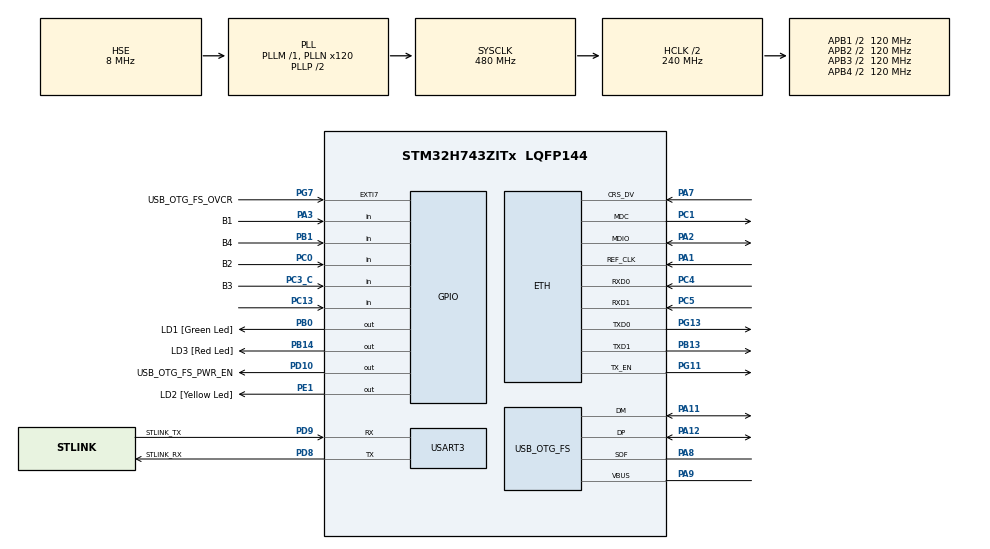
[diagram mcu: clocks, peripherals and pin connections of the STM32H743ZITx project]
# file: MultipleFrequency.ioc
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ETH.MediaInterface=HAL_ETH_RMII_MODE
Mcu.Family=STM32H7
Mcu.Name=STM32H743ZITx
Mcu.Package=LQFP144
NVIC.PriorityGroup=NVIC_PRIORITYGROUP_4
PA1.Mode=RMII
PA1.Signal=ETH_REF_CLK
PA11.Mode=Device_Only
PA11.Signal=USB_OTG_FS_DM
PA12.Mode=Device_Only
PA12.Signal=USB_OTG_FS_DP
PA2.Mode=RMII
PA2.Signal=ETH_MDIO
PA3.GPIO_Label=B1
PA3.GPIO_PuPd=GPIO_PULLUP
PA3.Signal=GPIO_Input
PA7.Mode=RMII
PA7.Signal=ETH_CRS_DV
PA8.Mode=Activate_SOF_FS
PA8.Signal=USB_OTG_FS_SOF
PA9.Mode=Activate_VBUS
PA9.Signal=USB_OTG_FS_VBUS
PB0.GPIO_Label=LD1 [Green Led]
PB0.Signal=GPIO_Output
PB1.GPIO_Label=B4
PB1.GPIO_PuPd=GPIO_PULLUP
PB1.Signal=GPIO_Input
PB13.Mode=RMII
PB13.Signal=ETH_TXD1
PB14.GPIO_Label=LD3 [Red Led]
PB14.Signal=GPIO_Output
PC0.GPIO_Label=B2
PC0.GPIO_PuPd=GPIO_PULLUP
PC0.Signal=GPIO_Input
PC1.Mode=RMII
PC1.Signal=ETH_MDC
PC13.Signal=GPIO_Input
PC14-OSC32_IN\ (OSC32_IN).Mode=LSE-External-Oscillator
PC14-OSC32_IN\ (OSC32_IN).Signal=RCC_OSC32_IN
PC15-OSC32_OUT\ (OSC32_OUT).Mode=LSE-External-Oscillator
PC15-OSC32_OUT\ (OSC32_OUT).Signal=RCC_OSC32_OUT
PC3_C.GPIO_Label=B3
PC3_C.GPIO_PuPd=GPIO_PULLUP
PC3_C.Signal=GPIO_Input
PC4.Mode=RMII
PC4.Signal=ETH_RXD0
PC5.Mode=RMII
PC5.Signal=ETH_RXD1
PD10.GPIO_Label=USB_OTG_FS_PWR_EN
PD10.Signal=GPIO_Output
PD8.GPIO_Label=STLINK_RX
PD8.Mode=Asynchronous
PD8.Signal=USART3_TX
PD9.GPIO_Label=STLINK_TX
PD9.Mode=Asynchronous
PD9.Signal=USART3_RX
PE1.GPIO_Label=LD2 [Yellow Led]
PE1.Signal=GPIO_Output
PG11.Mode=RMII
PG11.Signal=ETH_TX_EN
PG13.Mode=RMII
PG13.Signal=ETH_TXD0
PG7.GPIO_Label=USB_OTG_FS_OVCR
PG7.Signal=GPXTI7
PH0-OSC_IN\ (PH0).Mode=HSE-External-Clock-Source
PH0-OSC_IN\ (PH0).Signal=RCC_OSC_IN
PH1-OSC_OUT\ (PH1).Signal=RCC_OSC_OUT
ProjectManager.HeapSize=0x200
ProjectManager.StackSize=0x400
ProjectManager.TargetToolchain=STM32CubeIDE
RCC.ADCFreq_Value=16125000
RCC.APB1Freq_Value=120000000
RCC.APB2Freq_Value=120000000
RCC.APB3Freq_Value=120000000
RCC.APB4Freq_Value=120000000
RCC.CortexFreq_Value=480000000
RCC.D1PPRE=RCC_APB3_DIV2
RCC.D2PPRE1=RCC_APB1_DIV2
RCC.D2PPRE2=RCC_APB2_DIV2
RCC.D3PPRE=RCC_APB4_DIV2
RCC.DIVM1=1
RCC.DIVN1=120
RCC.DIVQ1=20
RCC.HCLKFreq_Value=240000000
RCC.HPRE=RCC_HCLK_DIV2
RCC.HSE_VALUE=8000000
RCC.PLL2FRACN=0
RCC.PLL3FRACN=0
RCC.PLLFRACN=0
RCC.SYSCLKFreq_VALUE=480000000
RCC.SYSCLKSource=RCC_SYSCLKSOURCE_PLLCLK
RCC.USBFreq_Value=48000000
USART3.VirtualMode-Asynchronous=VM_ASYNC
USB_OTG_FS.VirtualMode=Device_Only
board=NUCLEO-H743ZI2

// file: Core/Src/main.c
/* USER CODE BEGIN Header */
/**
  ******************************************************************************
  * @file           : main.c
  * @brief          : Main program body
  ******************************************************************************
  * @attention
  *
  * <h2><center>&copy; Copyright (c) 2020 STMicroelectronics.
  * All rights reserved.</center></h2>
  *
  * This software component is licensed by ST under BSD 3-Clause license,
  * the "License"; You may not use this file except in compliance with the
  * License. You may obtain a copy of the License at:
  *                        opensource.org/licenses/BSD-3-Clause
  *
  ******************************************************************************
  */
/* USER CODE END Header */

#include "main.h"
#include "string.h"

#if defined ( __ICCARM__ ) /*!< IAR Compiler */

#pragma location=0x30040000
ETH_DMADescTypeDef  DMARxDscrTab[ETH_RX_DESC_CNT]; /* Ethernet Rx DMA Descriptors */
#pragma location=0x30040060
ETH_DMADescTypeDef  DMATxDscrTab[ETH_TX_DESC_CNT]; /* Ethernet Tx DMA Descriptors */
#pragma location=0x30040200
uint8_t Rx_Buff[ETH_RX_DESC_CNT][ETH_MAX_PACKET_SIZE]; /* Ethernet Receive Buffers */

#elif defined ( __CC_ARM )  /* MDK ARM Compiler */

__attribute__((at(0x30040000))) ETH_DMADescTypeDef  DMARxDscrTab[ETH_RX_DESC_CNT]; /* Ethernet Rx DMA Descriptors */
__attribute__((at(0x30040060))) ETH_DMADescTypeDef  DMATxDscrTab[ETH_TX_DESC_CNT]; /* Ethernet Tx DMA Descriptors */
__attribute__((at(0x30040200))) uint8_t Rx_Buff[ETH_RX_DESC_CNT][ETH_MAX_PACKET_SIZE]; /* Ethernet Receive Buffer */

#elif defined ( __GNUC__ ) /* GNU Compiler */

ETH_DMADescTypeDef DMARxDscrTab[ETH_RX_DESC_CNT] __attribute__((section(".RxDecripSection"))); /* Ethernet Rx DMA Descriptors */
ETH_DMADescTypeDef DMATxDscrTab[ETH_TX_DESC_CNT] __attribute__((section(".TxDecripSection")));   /* Ethernet Tx DMA Descriptors */
uint8_t Rx_Buff[ETH_RX_DESC_CNT][ETH_MAX_PACKET_SIZE] __attribute__((section(".RxArraySection"))); /* Ethernet Receive Buffers */

#endif

ETH_TxPacketConfig TxConfig;

ETH_HandleTypeDef heth;

UART_HandleTypeDef huart3;

PCD_HandleTypeDef hpcd_USB_OTG_FS;

void SystemClock_Config(void);
static void MX_GPIO_Init(void);
static void MX_ETH_Init(void);
static void MX_USART3_UART_Init(void);
static void MX_USB_OTG_FS_PCD_Init(void);

int main(void)
{

  /* MCU Configuration--------------------------------------------------------*/

  /* Reset of all peripherals, Initializes the Flash interface and the Systick. */
  HAL_Init();

  /* Configure the system clock */
  SystemClock_Config();

  /* Initialize all configured peripherals */
  MX_GPIO_Init();
  MX_ETH_Init();
  MX_USART3_UART_Init();
  MX_USB_OTG_FS_PCD_Init();
  /* USER CODE BEGIN 2 */
  int mode_1=0;
  int mode_2=0;
  int mode_3=0;
  int mode_4=0;
  int mode_5=0;
  float x = 0;
  /* USER CODE END 2 */

  /* Infinite loop */
  while (1)
  {

    /* USER CODE BEGIN 3 */
	  if(HAL_GPIO_ReadPin(B1_GPIO_Port,B1_Pin) == 0){
		  HAL_GPIO_WritePin(GPIOB, LD1_Pin, 1);
		  for(int i=0;i<10000;i++){
			  //1KHz loop
			  uint32_t tickstart = HAL_GetTick();
			  uint32_t wait = 1;
			  /* Add a freq to guarantee minimum wait */
			  if (wait < HAL_MAX_DELAY){
				  wait += (uint32_t)(uwTickFreq);
			  }
			  x = x*x+sin(x)*sin(x)+cos(x)*sin(x);
			  while ((HAL_GetTick() - tickstart) < wait){}
		  }
		  HAL_GPIO_WritePin(GPIOB, LD1_Pin, 0);
	  }else if(HAL_GPIO_ReadPin(B2_GPIO_Port,B2_Pin) == 0){
		  HAL_GPIO_WritePin(GPIOB, LD1_Pin, 1);
		  for(int i=0;i<3333;i++){
			  //333Hz loop
			  uint32_t tickstart = HAL_GetTick();
			  uint32_t wait = 3;
			  /* Add a freq to guarantee minimum wait */
			  if (wait < HAL_MAX_DELAY){
				  wait += (uint32_t)(uwTickFreq);
			  }
			  x = x*x+sin(x)*sin(x)+cos(x)*sin(x);
			  while ((HAL_GetTick() - tickstart) < wait){}
		  }
		  HAL_GPIO_WritePin(GPIOB, LD1_Pin, 0);
	  }else if(HAL_GPIO_ReadPin(B3_GPIO_Port,B3_Pin) == 0){
		  HAL_GPIO_WritePin(GPIOB, LD1_Pin, 1);
		  for(int i=0;i<666;i++){
			  //333Hz loop
			  uint32_t tickstart = HAL_GetTick();
			  uint32_t wait = 15;
			  /* Add a freq to guarantee minimum wait */
			  if (wait < HAL_MAX_DELAY){
				  wait += (uint32_t)(uwTickFreq);
			  }
			  x = x*x+sin(x)*sin(x)+cos(x)*sin(x);
			  while ((HAL_GetTick() - tickstart) < wait){}
		  }
		  HAL_GPIO_WritePin(GPIOB, LD1_Pin, 0);
	  }else if(HAL_GPIO_ReadPin(B4_GPIO_Port,B4_Pin) == 0){
		  x = x*x+sin(x)*sin(x)+cos(x)*sin(x);
	  }
  }
  /* USER CODE END 3 */
}

void SystemClock_Config(void)
{
  RCC_OscInitTypeDef RCC_OscInitStruct = {0};
  RCC_ClkInitTypeDef RCC_ClkInitStruct = {0};
  RCC_PeriphCLKInitTypeDef PeriphClkInitStruct = {0};

  /** Supply configuration update enable
  */
  HAL_PWREx_ConfigSupply(PWR_LDO_SUPPLY);
  /** Configure the main internal regulator output voltage
  */
  __HAL_PWR_VOLTAGESCALING_CONFIG(PWR_REGULATOR_VOLTAGE_SCALE0);

  while(!__HAL_PWR_GET_FLAG(PWR_FLAG_VOSRDY)) {}
  /** Initializes the CPU, AHB and APB busses clocks
  */
  RCC_OscInitStruct.OscillatorType = RCC_OSCILLATORTYPE_HSE;
  RCC_OscInitStruct.HSEState = RCC_HSE_BYPASS;
  RCC_OscInitStruct.PLL.PLLState = RCC_PLL_ON;
  RCC_OscInitStruct.PLL.PLLSource = RCC_PLLSOURCE_HSE;
  RCC_OscInitStruct.PLL.PLLM = 1;
  RCC_OscInitStruct.PLL.PLLN = 120;
  RCC_OscInitStruct.PLL.PLLP = 2;
  RCC_OscInitStruct.PLL.PLLQ = 20;
  RCC_OscInitStruct.PLL.PLLR = 2;
  RCC_OscInitStruct.PLL.PLLRGE = RCC_PLL1VCIRANGE_3;
  RCC_OscInitStruct.PLL.PLLVCOSEL = RCC_PLL1VCOWIDE;
  RCC_OscInitStruct.PLL.PLLFRACN = 0;
  if (HAL_RCC_OscConfig(&RCC_OscInitStruct) != HAL_OK)
  {
    Error_Handler();
  }
  /** Initializes the CPU, AHB and APB busses clocks
  */
  RCC_ClkInitStruct.ClockType = RCC_CLOCKTYPE_HCLK|RCC_CLOCKTYPE_SYSCLK
                              |RCC_CLOCKTYPE_PCLK1|RCC_CLOCKTYPE_PCLK2
                              |RCC_CLOCKTYPE_D3PCLK1|RCC_CLOCKTYPE_D1PCLK1;
  RCC_ClkInitStruct.SYSCLKSource = RCC_SYSCLKSOURCE_PLLCLK;
  RCC_ClkInitStruct.SYSCLKDivider = RCC_SYSCLK_DIV1;
  RCC_ClkInitStruct.AHBCLKDivider = RCC_HCLK_DIV2;
  RCC_ClkInitStruct.APB3CLKDivider = RCC_APB3_DIV2;
  RCC_ClkInitStruct.APB1CLKDivider = RCC_APB1_DIV2;
  RCC_ClkInitStruct.APB2CLKDivider = RCC_APB2_DIV2;
  RCC_ClkInitStruct.APB4CLKDivider = RCC_APB4_DIV2;

  if (HAL_RCC_ClockConfig(&RCC_ClkInitStruct, FLASH_LATENCY_4) != HAL_OK)
  {
    Error_Handler();
  }
  PeriphClkInitStruct.PeriphClockSelection = RCC_PERIPHCLK_USART3|RCC_PERIPHCLK_USB;
  PeriphClkInitStruct.Usart234578ClockSelection = RCC_USART234578CLKSOURCE_D2PCLK1;
  PeriphClkInitStruct.UsbClockSelection = RCC_USBCLKSOURCE_PLL;
  if (HAL_RCCEx_PeriphCLKConfig(&PeriphClkInitStruct) != HAL_OK)
  {
    Error_Handler();
  }
  /** Enable USB Voltage detector
  */
  HAL_PWREx_EnableUSBVoltageDetector();
}

static void MX_ETH_Init(void)
{

  heth.Instance = ETH;
  heth.Init.MACAddr[0] =   0x00;
  heth.Init.MACAddr[1] =   0x80;
  heth.Init.MACAddr[2] =   0xE1;
  heth.Init.MACAddr[3] =   0x00;
  heth.Init.MACAddr[4] =   0x00;
  heth.Init.MACAddr[5] =   0x00;
  heth.Init.MediaInterface = HAL_ETH_RMII_MODE;
  heth.Init.TxDesc = DMATxDscrTab;
  heth.Init.RxDesc = DMARxDscrTab;
  heth.Init.RxBuffLen = 1524;

  if (HAL_ETH_Init(&heth) != HAL_OK)
  {
    Error_Handler();
  }

  memset(&TxConfig, 0 , sizeof(ETH_TxPacketConfig));
  TxConfig.Attributes = ETH_TX_PACKETS_FEATURES_CSUM | ETH_TX_PACKETS_FEATURES_CRCPAD;
  TxConfig.ChecksumCtrl = ETH_CHECKSUM_IPHDR_PAYLOAD_INSERT_PHDR_CALC;
  TxConfig.CRCPadCtrl = ETH_CRC_PAD_INSERT;

}

static void MX_USART3_UART_Init(void)
{

  huart3.Instance = USART3;
  huart3.Init.BaudRate = 115200;
  huart3.Init.WordLength = UART_WORDLENGTH_8B;
  huart3.Init.StopBits = UART_STOPBITS_1;
  huart3.Init.Parity = UART_PARITY_NONE;
  huart3.Init.Mode = UART_MODE_TX_RX;
  huart3.Init.HwFlowCtl = UART_HWCONTROL_NONE;
  huart3.Init.OverSampling = UART_OVERSAMPLING_16;
  huart3.Init.OneBitSampling = UART_ONE_BIT_SAMPLE_DISABLE;
  huart3.Init.ClockPrescaler = UART_PRESCALER_DIV1;
  huart3.AdvancedInit.AdvFeatureInit = UART_ADVFEATURE_NO_INIT;
  if (HAL_UART_Init(&huart3) != HAL_OK)
  {
    Error_Handler();
  }
  if (HAL_UARTEx_SetTxFifoThreshold(&huart3, UART_TXFIFO_THRESHOLD_1_8) != HAL_OK)
  {
    Error_Handler();
  }
  if (HAL_UARTEx_SetRxFifoThreshold(&huart3, UART_RXFIFO_THRESHOLD_1_8) != HAL_OK)
  {
    Error_Handler();
  }
  if (HAL_UARTEx_DisableFifoMode(&huart3) != HAL_OK)
  {
    Error_Handler();
  }

}

static void MX_USB_OTG_FS_PCD_Init(void)
{

  hpcd_USB_OTG_FS.Instance = USB_OTG_FS;
  hpcd_USB_OTG_FS.Init.dev_endpoints = 9;
  hpcd_USB_OTG_FS.Init.speed = PCD_SPEED_FULL;
  hpcd_USB_OTG_FS.Init.dma_enable = DISABLE;
  hpcd_USB_OTG_FS.Init.phy_itface = PCD_PHY_EMBEDDED;
  hpcd_USB_OTG_FS.Init.Sof_enable = ENABLE;
  hpcd_USB_OTG_FS.Init.low_power_enable = DISABLE;
  hpcd_USB_OTG_FS.Init.lpm_enable = DISABLE;
  hpcd_USB_OTG_FS.Init.battery_charging_enable = ENABLE;
  hpcd_USB_OTG_FS.Init.vbus_sensing_enable = ENABLE;
  hpcd_USB_OTG_FS.Init.use_dedicated_ep1 = DISABLE;
  if (HAL_PCD_Init(&hpcd_USB_OTG_FS) != HAL_OK)
  {
    Error_Handler();
  }

}

static void MX_GPIO_Init(void)
{
  GPIO_InitTypeDef GPIO_InitStruct = {0};

  /* GPIO Ports Clock Enable */
  __HAL_RCC_GPIOC_CLK_ENABLE();
  __HAL_RCC_GPIOH_CLK_ENABLE();
  __HAL_RCC_GPIOA_CLK_ENABLE();
  __HAL_RCC_GPIOB_CLK_ENABLE();
  __HAL_RCC_GPIOD_CLK_ENABLE();
  __HAL_RCC_GPIOG_CLK_ENABLE();
  __HAL_RCC_GPIOE_CLK_ENABLE();

  /*Configure GPIO pin Output Level */
  HAL_GPIO_WritePin(GPIOB, LD1_Pin|LD3_Pin, GPIO_PIN_RESET);

  /*Configure GPIO pin Output Level */
  HAL_GPIO_WritePin(USB_OTG_FS_PWR_EN_GPIO_Port, USB_OTG_FS_PWR_EN_Pin, GPIO_PIN_RESET);

  /*Configure GPIO pin Output Level */
  HAL_GPIO_WritePin(LD2_GPIO_Port, LD2_Pin, GPIO_PIN_RESET);

  /*Configure GPIO pin : PC13 */
  GPIO_InitStruct.Pin = GPIO_PIN_13;
  GPIO_InitStruct.Mode = GPIO_MODE_INPUT;
  GPIO_InitStruct.Pull = GPIO_NOPULL;
  HAL_GPIO_Init(GPIOC, &GPIO_InitStruct);

  /*Configure GPIO pins : B2_Pin B3_Pin */
  GPIO_InitStruct.Pin = B2_Pin|B3_Pin;
  GPIO_InitStruct.Mode = GPIO_MODE_INPUT;
  GPIO_InitStruct.Pull = GPIO_PULLUP;
  HAL_GPIO_Init(GPIOC, &GPIO_InitStruct);

  /*Configure GPIO pin : B1_Pin */
  GPIO_InitStruct.Pin = B1_Pin;
  GPIO_InitStruct.Mode = GPIO_MODE_INPUT;
  GPIO_InitStruct.Pull = GPIO_PULLUP;
  HAL_GPIO_Init(B1_GPIO_Port, &GPIO_InitStruct);

  /*Configure GPIO pins : LD1_Pin LD3_Pin */
  GPIO_InitStruct.Pin = LD1_Pin|LD3_Pin;
  GPIO_InitStruct.Mode = GPIO_MODE_OUTPUT_PP;
  GPIO_InitStruct.Pull = GPIO_NOPULL;
  GPIO_InitStruct.Speed = GPIO_SPEED_FREQ_LOW;
  HAL_GPIO_Init(GPIOB, &GPIO_InitStruct);

  /*Configure GPIO pin : B4_Pin */
  GPIO_InitStruct.Pin = B4_Pin;
  GPIO_InitStruct.Mode = GPIO_MODE_INPUT;
  GPIO_InitStruct.Pull = GPIO_PULLUP;
  HAL_GPIO_Init(B4_GPIO_Port, &GPIO_InitStruct);

  /*Configure GPIO pin : USB_OTG_FS_PWR_EN_Pin */
  GPIO_InitStruct.Pin = USB_OTG_FS_PWR_EN_Pin;
  GPIO_InitStruct.Mode = GPIO_MODE_OUTPUT_PP;
  GPIO_InitStruct.Pull = GPIO_NOPULL;
  GPIO_InitStruct.Speed = GPIO_SPEED_FREQ_LOW;
  HAL_GPIO_Init(USB_OTG_FS_PWR_EN_GPIO_Port, &GPIO_InitStruct);

  /*Configure GPIO pin : USB_OTG_FS_OVCR_Pin */
  GPIO_InitStruct.Pin = USB_OTG_FS_OVCR_Pin;
  GPIO_InitStruct.Mode = GPIO_MODE_IT_RISING;
  GPIO_InitStruct.Pull = GPIO_NOPULL;
  HAL_GPIO_Init(USB_OTG_FS_OVCR_GPIO_Port, &GPIO_InitStruct);

  /*Configure GPIO pin : LD2_Pin */
  GPIO_InitStruct.Pin = LD2_Pin;
  GPIO_InitStruct.Mode = GPIO_MODE_OUTPUT_PP;
  GPIO_InitStruct.Pull = GPIO_NOPULL;
  GPIO_InitStruct.Speed = GPIO_SPEED_FREQ_LOW;
  HAL_GPIO_Init(LD2_GPIO_Port, &GPIO_InitStruct);

}

void Error_Handler(void)
{
}

/************************ (C) COPYRIGHT STMicroelectronics *****END OF FILE****/
